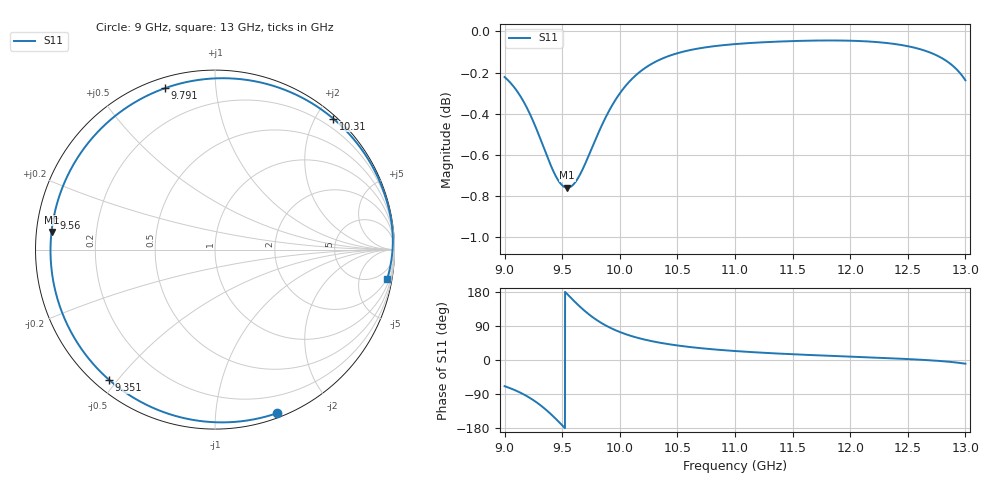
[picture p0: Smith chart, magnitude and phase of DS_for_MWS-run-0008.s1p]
! TOUCHSTONE file generated by CST DESIGN STUDIO
! Date and time: Tue Feb  4 15:57:25 2025
! Project name: C:\Work\MatlabApps\UnitCellOptimizationMatlab\CST\unitcell.cst
! Tree item: Tasks\Sweep1\SPara1\S-Parameters
! Header version: 2024
! Port assignment regex: !\s*Touchstone port\s*([0-9]+)\s*=\s*(CST MWS port|CST DES external port|CST DES block port)\s*(.+)\s* \(\"(.*)\"\)(\s*mode\s*([0-9]+))?.*
! Touchstone port assignment:
! Touchstone port 1 = CST DES external port 1 ("")
# GHz S MA R 50
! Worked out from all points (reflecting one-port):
!   4001 points, 9 GHz to 13 GHz, reference 50 ohm
!   lowest |S11| = -0.8 dB at 9.544 GHz (marker M1), VSWR 22.87, Z = 2.19 + j2.69 ohm
!   phase of S11 starts at -69 deg and turns -301 deg over the sweep
!   S11 on the Smith chart (normalised r, x): 9 GHz: 0.04, -1.45; 9.351 GHz: 0.04, -0.47; 9.56 GHz: 0.04, +0.10; 9.791 GHz: 0.05, +0.74; 10.31 GHz: 0.05, +2.25; 13 GHz: 2, -11
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9  0.9748 -69.1
9.099  0.9679 -80.9
9.207  0.9565 -97.8
9.282  0.946 -112.7
9.351  0.9353 -129.1
9.391  0.9292 -139.8
9.433  0.9235 -151.9
9.467  0.9199 -162.1
9.5  0.9175 -172.4
9.544  0.9162 173.8
9.56  0.9164 168.8
9.614  0.9191 152.3
9.678  0.9258 134.2
9.733  0.9333 120.2
9.791  0.9416 107.2
9.883  0.9537 90.3
10  0.9659 73.9
10.068  0.9713 66.4
10.141  0.9759 59.7
10.307  0.9831 47.9
10.5  0.9879 38.4
10.721  0.9909 30.6
11  0.9929 23.7
11.5  0.9946 15.2
12  0.9948 8.9
12.5  0.9918 2.5
12.792  0.9853 -2.9
13  0.973 -9.8
